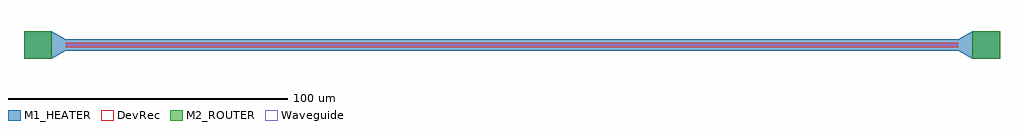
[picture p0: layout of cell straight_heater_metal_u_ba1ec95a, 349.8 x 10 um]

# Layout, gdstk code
from math import pi, radians
import gdstk
lib = gdstk.Library(unit=1e-6, precision=1e-09)
def R(c, l, rs):  # rectangles x0, y0, x1, y1
    for r in rs: c.add(gdstk.rectangle(r[:2], r[2:], *l))
def P(c, l, *ps):  # polygons
    for p in ps: c.add(gdstk.Polygon(p, *l))
Waveguide = (1, 0)
M1_HEATER = (11, 0)
M2_ROUTER = (12, 0)
DevRec = (68, 0)

compass_s10_10_lm1_heat_ = lib.new_cell('compass_S10_10_LM1_HEAT_e3a5469a')
R(compass_s10_10_lm1_heat_, M1_HEATER, [(-5,-5,5,5)])

compass_s10_10_lm2_rout_ = lib.new_cell('compass_S10_10_LM2_ROUT_b8249cf0')
R(compass_s10_10_lm2_rout_, M2_ROUTER, [(-5,-5,5,5)])

via_stack_heater_mtop_s1 = lib.new_cell('via_stack_heater_mtop_S10_10')
via_stack_heater_mtop_s1.add(gdstk.Reference(compass_s10_10_lm1_heat_, (0,0)))
via_stack_heater_mtop_s1.add(gdstk.Reference(compass_s10_10_lm2_rout_, (0,0)))

taper_l5_w10_w4_pnone_w_ = lib.new_cell('taper_L5_W10_W4_PNone_W_9659be32')
P(taper_l5_w10_w4_pnone_w_, M1_HEATER, [(0,-5),(0,5),(5,2),(5,-2)])

straight_l0p1_n2_csstrip = lib.new_cell('straight_L0p1_N2_CSstrip')
R(straight_l0p1_n2_csstrip, Waveguide, [(0,-0.25,0.1,0.25)])
R(straight_l0p1_n2_csstrip, DevRec, [(0,-0.75,0.1,0.75)])

straight_l2p4_n2_csstri_ = lib.new_cell('straight_L2p4_N2_CSstri_39572eeb')
R(straight_l2p4_n2_csstri_, Waveguide, [(0,-0.25,2.4,0.25)])
R(straight_l2p4_n2_csstri_, M1_HEATER, [(0,-2,2.4,2)])
R(straight_l2p4_n2_csstri_, DevRec, [(0,-0.75,2.4,0.75)])

straight_l5_n2_csstrip__ = lib.new_cell('straight_L5_N2_CSstrip__489d0ccd')
R(straight_l5_n2_csstrip__, Waveguide, [(0,-0.25,5,0.25)])
R(straight_l5_n2_csstrip__, M1_HEATER, [(0,-2,5,2)])
R(straight_l5_n2_csstrip__, DevRec, [(0,-0.75,5,0.75)])

straight_heater_metal_u_ = lib.new_cell('straight_heater_metal_u_ba1ec95a')
straight_heater_metal_u_.add(gdstk.Reference(via_stack_heater_mtop_s1, (-9.9,0)))
straight_heater_metal_u_.add(gdstk.Reference(via_stack_heater_mtop_s1, (329.9,0)))
straight_heater_metal_u_.add(gdstk.Reference(taper_l5_w10_w4_pnone_w_, (-4.9,0)))
straight_heater_metal_u_.add(gdstk.Reference(taper_l5_w10_w4_pnone_w_, (324.9,0), rotation=pi))
straight_heater_metal_u_.add(gdstk.Reference(straight_l0p1_n2_csstrip, (0,0)))
straight_heater_metal_u_.add(gdstk.Reference(straight_l2p4_n2_csstri_, (0.1,0)))
straight_heater_metal_u_.add(gdstk.Reference(straight_l5_n2_csstrip__, (2.5,0)))
straight_heater_metal_u_.add(gdstk.Reference(straight_l5_n2_csstrip__, (7.5,0)))
straight_heater_metal_u_.add(gdstk.Reference(straight_l5_n2_csstrip__, (12.5,0)))
straight_heater_metal_u_.add(gdstk.Reference(straight_l5_n2_csstrip__, (17.5,0)))
straight_heater_metal_u_.add(gdstk.Reference(straight_l5_n2_csstrip__, (22.5,0)))
straight_heater_metal_u_.add(gdstk.Reference(straight_l5_n2_csstrip__, (27.5,0)))
straight_heater_metal_u_.add(gdstk.Reference(straight_l5_n2_csstrip__, (32.5,0)))
straight_heater_metal_u_.add(gdstk.Reference(straight_l5_n2_csstrip__, (37.5,0)))
straight_heater_metal_u_.add(gdstk.Reference(straight_l5_n2_csstrip__, (42.5,0)))
straight_heater_metal_u_.add(gdstk.Reference(straight_l5_n2_csstrip__, (47.5,0)))
straight_heater_metal_u_.add(gdstk.Reference(straight_l5_n2_csstrip__, (52.5,0)))
straight_heater_metal_u_.add(gdstk.Reference(straight_l5_n2_csstrip__, (57.5,0)))
straight_heater_metal_u_.add(gdstk.Reference(straight_l5_n2_csstrip__, (62.5,0)))
straight_heater_metal_u_.add(gdstk.Reference(straight_l5_n2_csstrip__, (67.5,0)))
straight_heater_metal_u_.add(gdstk.Reference(straight_l5_n2_csstrip__, (72.5,0)))
straight_heater_metal_u_.add(gdstk.Reference(straight_l5_n2_csstrip__, (77.5,0)))
straight_heater_metal_u_.add(gdstk.Reference(straight_l5_n2_csstrip__, (82.5,0)))
straight_heater_metal_u_.add(gdstk.Reference(straight_l5_n2_csstrip__, (87.5,0)))
straight_heater_metal_u_.add(gdstk.Reference(straight_l5_n2_csstrip__, (92.5,0)))
straight_heater_metal_u_.add(gdstk.Reference(straight_l5_n2_csstrip__, (97.5,0)))
straight_heater_metal_u_.add(gdstk.Reference(straight_l5_n2_csstrip__, (102.5,0)))
straight_heater_metal_u_.add(gdstk.Reference(straight_l5_n2_csstrip__, (107.5,0)))
straight_heater_metal_u_.add(gdstk.Reference(straight_l5_n2_csstrip__, (112.5,0)))
straight_heater_metal_u_.add(gdstk.Reference(straight_l5_n2_csstrip__, (117.5,0)))
straight_heater_metal_u_.add(gdstk.Reference(straight_l5_n2_csstrip__, (122.5,0)))
straight_heater_metal_u_.add(gdstk.Reference(straight_l5_n2_csstrip__, (127.5,0)))
straight_heater_metal_u_.add(gdstk.Reference(straight_l5_n2_csstrip__, (132.5,0)))
straight_heater_metal_u_.add(gdstk.Reference(straight_l5_n2_csstrip__, (137.5,0)))
straight_heater_metal_u_.add(gdstk.Reference(straight_l5_n2_csstrip__, (142.5,0)))
straight_heater_metal_u_.add(gdstk.Reference(straight_l5_n2_csstrip__, (147.5,0)))
straight_heater_metal_u_.add(gdstk.Reference(straight_l5_n2_csstrip__, (152.5,0)))
straight_heater_metal_u_.add(gdstk.Reference(straight_l5_n2_csstrip__, (157.5,0)))
straight_heater_metal_u_.add(gdstk.Reference(straight_l5_n2_csstrip__, (162.5,0)))
straight_heater_metal_u_.add(gdstk.Reference(straight_l5_n2_csstrip__, (167.5,0)))
straight_heater_metal_u_.add(gdstk.Reference(straight_l5_n2_csstrip__, (172.5,0)))
straight_heater_metal_u_.add(gdstk.Reference(straight_l5_n2_csstrip__, (177.5,0)))
straight_heater_metal_u_.add(gdstk.Reference(straight_l5_n2_csstrip__, (182.5,0)))
straight_heater_metal_u_.add(gdstk.Reference(straight_l5_n2_csstrip__, (187.5,0)))
straight_heater_metal_u_.add(gdstk.Reference(straight_l5_n2_csstrip__, (192.5,0)))
straight_heater_metal_u_.add(gdstk.Reference(straight_l5_n2_csstrip__, (197.5,0)))
straight_heater_metal_u_.add(gdstk.Reference(straight_l5_n2_csstrip__, (202.5,0)))
straight_heater_metal_u_.add(gdstk.Reference(straight_l5_n2_csstrip__, (207.5,0)))
straight_heater_metal_u_.add(gdstk.Reference(straight_l5_n2_csstrip__, (212.5,0)))
straight_heater_metal_u_.add(gdstk.Reference(straight_l5_n2_csstrip__, (217.5,0)))
straight_heater_metal_u_.add(gdstk.Reference(straight_l5_n2_csstrip__, (222.5,0)))
straight_heater_metal_u_.add(gdstk.Reference(straight_l5_n2_csstrip__, (227.5,0)))
straight_heater_metal_u_.add(gdstk.Reference(straight_l5_n2_csstrip__, (232.5,0)))
straight_heater_metal_u_.add(gdstk.Reference(straight_l5_n2_csstrip__, (237.5,0)))
straight_heater_metal_u_.add(gdstk.Reference(straight_l5_n2_csstrip__, (242.5,0)))
straight_heater_metal_u_.add(gdstk.Reference(straight_l5_n2_csstrip__, (247.5,0)))
straight_heater_metal_u_.add(gdstk.Reference(straight_l5_n2_csstrip__, (252.5,0)))
straight_heater_metal_u_.add(gdstk.Reference(straight_l5_n2_csstrip__, (257.5,0)))
straight_heater_metal_u_.add(gdstk.Reference(straight_l5_n2_csstrip__, (262.5,0)))
straight_heater_metal_u_.add(gdstk.Reference(straight_l5_n2_csstrip__, (267.5,0)))
straight_heater_metal_u_.add(gdstk.Reference(straight_l5_n2_csstrip__, (272.5,0)))
straight_heater_metal_u_.add(gdstk.Reference(straight_l5_n2_csstrip__, (277.5,0)))
straight_heater_metal_u_.add(gdstk.Reference(straight_l5_n2_csstrip__, (282.5,0)))
straight_heater_metal_u_.add(gdstk.Reference(straight_l5_n2_csstrip__, (287.5,0)))
straight_heater_metal_u_.add(gdstk.Reference(straight_l5_n2_csstrip__, (292.5,0)))
straight_heater_metal_u_.add(gdstk.Reference(straight_l5_n2_csstrip__, (297.5,0)))
straight_heater_metal_u_.add(gdstk.Reference(straight_l5_n2_csstrip__, (302.5,0)))
straight_heater_metal_u_.add(gdstk.Reference(straight_l5_n2_csstrip__, (307.5,0)))
straight_heater_metal_u_.add(gdstk.Reference(straight_l5_n2_csstrip__, (312.5,0)))
straight_heater_metal_u_.add(gdstk.Reference(straight_l2p4_n2_csstri_, (317.5,0)))
straight_heater_metal_u_.add(gdstk.Reference(straight_l0p1_n2_csstrip, (319.9,0)))

lib.write_gds('straight_heater_metal_u_ba1ec95a.gds')
